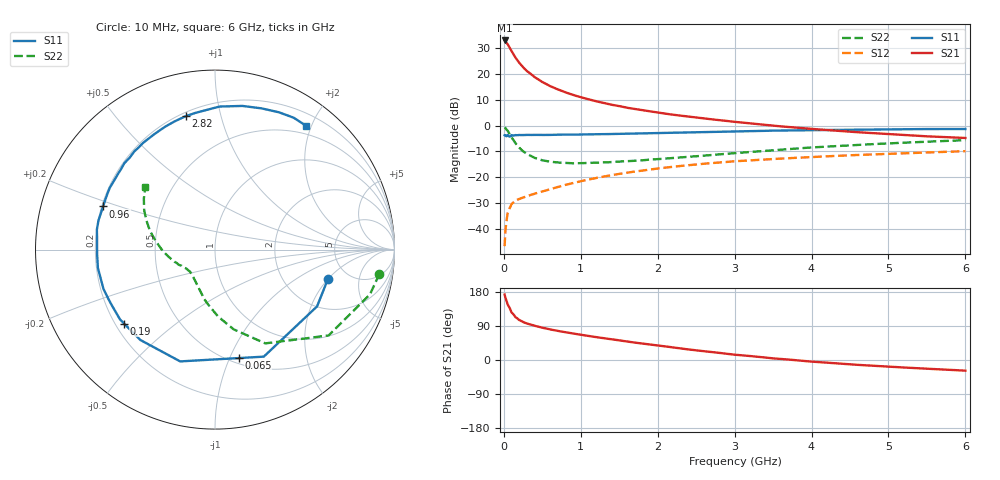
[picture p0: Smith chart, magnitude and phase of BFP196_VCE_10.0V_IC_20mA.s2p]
! Infineon Technologies  Discrete & RF Semiconductors
! BFP196
! VCE = 10.0V,  IC =  20mA
! Common Emitter S-Parameters:  Jan 2016
# GHz  S  MA  R  50
!  f  S11  S21  S12  S22
! GHz  MAG  ANG  MAG  ANG  MAG  ANG  MAG  ANG
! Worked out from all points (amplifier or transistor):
!   210 points, 10 MHz to 6 GHz, reference 50 ohm
!   highest |S21| = 33.0 dB at 10 MHz (marker M1)
!   |S21| within 3 dB of that: start of sweep to 78.2 MHz
!   unconditionally stable (mu >= 1): 760.5 MHz to 4.378 GHz
!   at 185 MHz: K = 0.44, MSG = 26.8 dB, |S12| = -28.6 dB
!   at 1.52 GHz: K = 1.10, MAG = 11.1 dB, |S12| = -18.6 dB
!   at 6 GHz: K = 0.97, MSG = 2.6 dB, |S12| = -9.9 dB
!   S11 on the Smith chart (normalised r, x): 10 MHz: 3.49, -2.00; 65 MHz: 0.55, -1.08; 190 MHz: 0.24, -0.34; 960 MHz: 0.21, +0.18; 2.82 GHz: 0.22, +0.78; 6 GHz: 0.37, +1.92
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0.01  0.65 -14.8  44.5 172.7  0.0046 75.8  0.9259 -8.4
0.02  0.6507 -29.1  42.72 164.6  0.0089 72.9  0.899 -16.1
0.05  0.6554 -65.5  37.53 146.4  0.0201 61.7  0.7933 -37.1
0.065  0.6186 -77.7  34.19 141.4  0.0229 56.3  0.7207 -43.0
0.1  0.6524 -107.3  27.78 125.5  0.03 47.8  0.5928 -61.8
0.15  0.6532 -129.6  20.75 113.3  0.0351 42.1  0.4565 -76.8
0.19  0.6529 -140.9  17.3 107.4  0.0373 40.2  0.3885 -84.9
0.2  0.6568 -143.7  16.48 105.5  0.0378 39.8  0.373 -87.4
0.24  0.6533 -151.8  14.02 101.3  0.0397 40.0  0.3271 -93.9
0.3  0.6589 -160.6  11.36 96.1  0.0427 40.9  0.2827 -102.1
0.4  0.6604 -171.1  8.668 90.1  0.0478 43.1  0.2365 -112.0
0.5  0.6574 -178.0  6.959 85.2  0.0527 46.0  0.2121 -119.8
0.7  0.6675 170.4  5.023 76.7  0.0645 49.1  0.1923 -130.3
0.96  0.6683 158.9  3.683 68.0  0.0808 50.7  0.186 -138.9
1.02  0.6705 156.2  3.471 66.0  0.0847 50.9  0.1868 -140.4
1.4  0.6852 142.4  2.532 54.7  0.1092 50.0  0.196 -148.5
2.02  0.7174 123.5  1.767 37.8  0.1483 44.7  0.2245 -160.3
2.82  0.7612 102.3  1.265 18.4  0.1935 35.7  0.2782 -175.6
3.1  0.7729 96.2  1.14 12.3  0.2071 32.2  0.299 179.3
4.1  0.8165 77.7  0.839 -5.6  0.2493 20.8  0.3835 162.6
5.1  0.8456 63.8  0.67 -18.8  0.2868 10.1  0.4583 149.5
6  0.8566 53.7  0.574 -28.1  0.3187 0.4  0.5204 138.3
